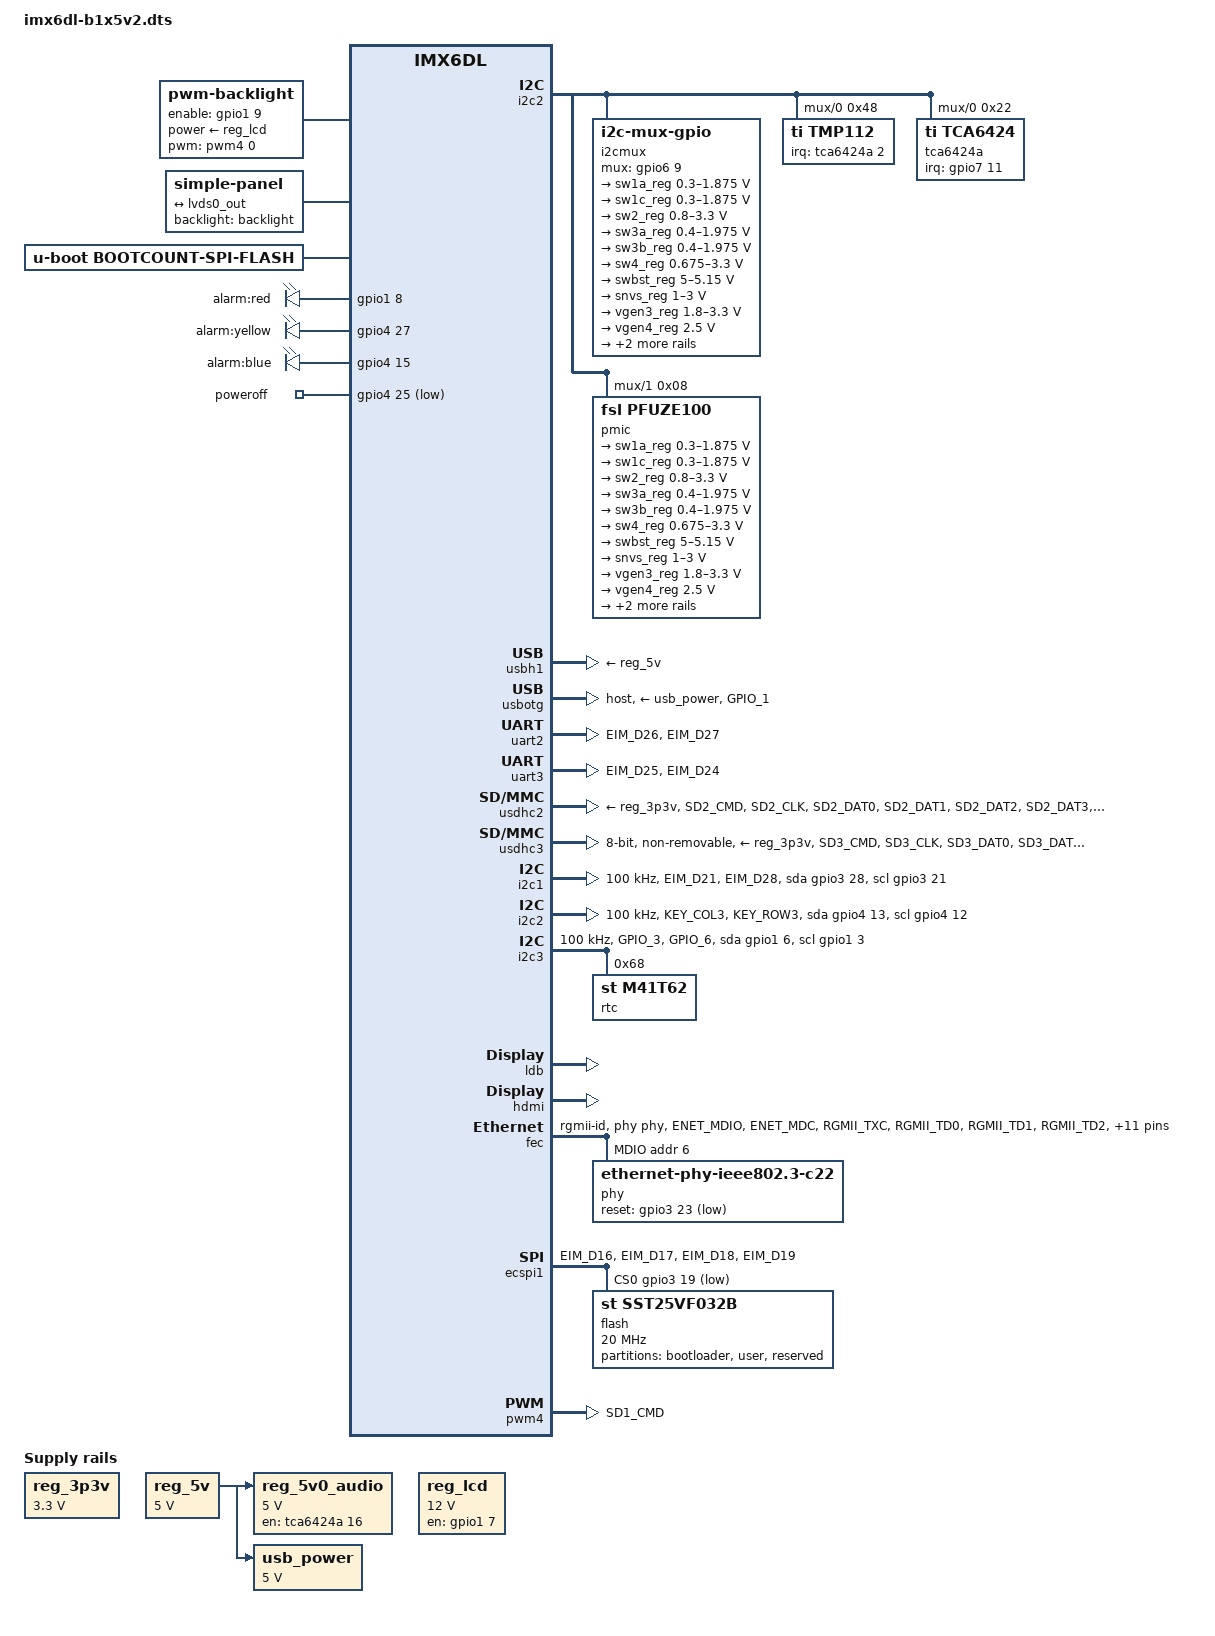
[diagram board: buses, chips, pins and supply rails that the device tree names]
/*
 * GE B1x5v2 Patient Monitor
 *
 * Copyright 2018-2020 GE Inc.
 * Copyright 2018-2020 Collabora Ltd.
 *
 * SPDX-License-Identifier:    GPL-2.0+
 */

/dts-v1/;

#include "imx6dl.dtsi"
#include <dt-bindings/gpio/gpio.h>

/ {
	compatible = "ge,imx6dl-b1x5v2", "congatec,qmx6", "fsl,imx6dl";

	chosen {
		bootargs = "console=ttymxc2,115200";
		stdout-path = &uart3;
	};

	reg_3p3v: 3p3v {
		compatible = "regulator-fixed";
		regulator-name = "3P3V";
		regulator-min-microvolt = <3300000>;
		regulator-max-microvolt = <3300000>;
		regulator-always-on;
	};

	reg_5v: regulator-5v {
		compatible = "regulator-fixed";
		regulator-name = "5V";
		regulator-min-microvolt = <5000000>;
		regulator-max-microvolt = <5000000>;
		regulator-always-on;
	};

	reg_5v0_audio: regulator-5v0-audio {
		compatible = "regulator-fixed";
		regulator-name = "5V0_AUDIO";
		regulator-min-microvolt = <5000000>;
		regulator-max-microvolt = <5000000>;
		vin-supply = <&reg_5v>;

		gpio = <&tca6424a 16 GPIO_ACTIVE_HIGH>;
		enable-active-high;

		/*
		 * This must be always-on for da7212, which has some not properly
		 * documented dependencies for it's speaker supply pin. The issue
		 * manifests as speaker volume being very low.
		 */
		regulator-always-on;
		regulator-boot-on;
	};

	reg_lcd: regulator-lcd {
		compatible = "regulator-fixed";
		regulator-name = "LED_VCC";
		regulator-min-microvolt = <12000000>;
		regulator-max-microvolt = <12000000>;

		pinctrl-0 = <&pinctrl_q7_lcd_power>;
		pinctrl-names = "default";
		gpio = <&gpio1 7 GPIO_ACTIVE_HIGH>; // LCDPWR
		enable-active-high;
	};

	usb_power: regulator-usb-power {
		compatible = "regulator-fixed";
		regulator-name = "USB POWER";
		regulator-min-microvolt = <5000000>;
		regulator-max-microvolt = <5000000>;
		vin-supply = <&reg_5v>;
	};

	backlight: backlight {
		compatible = "pwm-backlight";
		pinctrl-names = "default";
		pinctrl-0 = <&pinctrl_q7_backlight_enable>;
		power-supply = <&reg_lcd>;
		pwms = <&pwm4 0 5000000>;
		brightness-levels = <0 4 8 16 32 64 128 255>;
		default-brightness-level = <7>;
		enable-gpios = <&gpio1 9 GPIO_ACTIVE_HIGH>;
	};

	panel {
		compatible = "simple-panel";
		backlight = <&backlight>;

		port {
			panel_in: endpoint {
				remote-endpoint = <&lvds0_out>;
			};
		};
	};

	bootcount {
		compatible = "u-boot,bootcount-spi-flash";
		spi-flash = <&flash>;
		offset = <0x01003fe>;
	};

	leds {
		compatible = "gpio-leds";
		pinctrl-names = "default";
		pinctrl-0 = <&pinctrl_q7_gpio1 &pinctrl_q7_gpio3 &pinctrl_q7_gpio5>;

		alarm1 {
			label = "alarm:red";
			gpios = <&gpio1 8 GPIO_ACTIVE_HIGH>;
		};

		alarm2 {
			label = "alarm:yellow";
			gpios = <&gpio4 27 GPIO_ACTIVE_HIGH>;
		};

		alarm3 {
			label = "alarm:blue";
			gpios = <&gpio4 15 GPIO_ACTIVE_HIGH>;
		};
	};

	poweroff {
		compatible = "gpio-poweroff";
		pinctrl-names = "default";
		pinctrl-0 = <&pinctrl_q7_spi_cs1>;
		gpios = <&gpio4 25 GPIO_ACTIVE_LOW>;
		active-delay-ms = <1000>;
		inactive-delay-ms = <0>;
		timeout-ms = <5000>;
	};

	i2cmux {
		compatible = "i2c-mux-gpio";
		#address-cells = <1>;
		#size-cells = <0>;
		pinctrl-names = "default";
		pinctrl-0 = <&pinctrl_i2cmux>;
		mux-gpios = <&gpio6 9 GPIO_ACTIVE_HIGH>;
		i2c-parent = <&i2c2>;
		idle-state = <1>;

		i2c5: i2c@0 {
			reg = <0>;
			#address-cells = <1>;
			#size-cells = <0>;

			tmp112: temperature-sensor@48 {
				compatible = "ti,tmp112";
				reg = <0x48>;
				interrupt-parent = <&tca6424a>;
				interrupts = <2 IRQ_TYPE_LEVEL_LOW>;
			};

			tca6424a: gpio-controller@22 {
				compatible = "ti,tca6424";
				reg = <0x22>;
				gpio-controller;
				#gpio-cells = <2>;

				interrupt-parent = <&gpio7>;
				interrupts = <11 IRQ_TYPE_EDGE_RISING>;
				pinctrl-names = "default";
				pinctrl-0 = <&pinctrl_q7_gpio6>;
				interrupt-controller;
				#interrupt-cells = <2>;

				gpio-line-names = "GPIO_ROTOR#", "", "TMP_SENSOR_IRQ", "ACM_GPIO1", "ACM_GPIO2", "BATT_T", "", "",
						  "ACM_GPIO3", "ACM_GPIO4", "USB1_POWER_EN", "EGPIO_CC_CTL0", "EGPIO_CC_CTL1", "12V_OEMNBP_EN", "CP2105_RST", "",
						  "SPEAKER_PA_EN", "ARM7_UPI_RESET", "ARM7_PWR_RST", "NURSE_CALL", "MARKER_EN", "EGPIO_TOUCH_RST", "", "";
			};
		};

		i2c6: i2c@1 {
			reg = <1>;
			#address-cells = <1>;
			#size-cells = <0>;

			pmic: pmic@08 {
				compatible = "fsl,pfuze100";
				reg = <0x08>;
			};
		};
	};
};

&usbh1 {
	/* Connected to USB-Hub SMSC USB2514, provides P0, P2, P3, P4 on Qseven connector */
	vbus-supply = <&reg_5v>;
	status = "okay";
};

&usbotg {
	pinctrl-names = "default";
	pinctrl-0 = <&pinctrl_usbotg>;
	vbus-supply = <&usb_power>;
	disable-over-current;
	dr_mode = "host";
	status = "okay";
};

&pmic {
	regulators {
		sw1a_reg: sw1ab {
			regulator-min-microvolt = <300000>;
			regulator-max-microvolt = <1875000>;
			regulator-boot-on;
			regulator-always-on;
			regulator-ramp-delay = <6250>;
		};

		sw1c_reg: sw1c {
			regulator-min-microvolt = <300000>;
			regulator-max-microvolt = <1875000>;
			regulator-boot-on;
			regulator-always-on;
			regulator-ramp-delay = <6250>;
		};

		sw2_reg: sw2 {
			regulator-min-microvolt = <800000>;
			regulator-max-microvolt = <3300000>;
			regulator-boot-on;
			regulator-always-on;
		};

		sw3a_reg: sw3a {
			regulator-min-microvolt = <400000>;
			regulator-max-microvolt = <1975000>;
			regulator-boot-on;
			regulator-always-on;
		};

		sw3b_reg: sw3b {
			regulator-min-microvolt = <400000>;
			regulator-max-microvolt = <1975000>;
			regulator-boot-on;
			regulator-always-on;
		};

		sw4_reg: sw4 {
			regulator-min-microvolt = <675000>;
			regulator-max-microvolt = <3300000>;
			regulator-boot-on;
			regulator-always-on;
		};

		swbst_reg: swbst {
			regulator-min-microvolt = <5000000>;
			regulator-max-microvolt = <5150000>;
		};

		snvs_reg: vsnvs {
			regulator-min-microvolt = <1000000>;
			regulator-max-microvolt = <3000000>;
			regulator-boot-on;
			regulator-always-on;
		};

		vref_reg: vrefddr {
			regulator-boot-on;
			regulator-always-on;
		};

		/* keep VGEN3, VGEN4 and VGEN5 enabled in order to maintain backward compatibility with hw-rev. A.0 */
		vgen3_reg: vgen3 {
			regulator-min-microvolt = <1800000>;
			regulator-max-microvolt = <3300000>;
			regulator-always-on;
		};

		vgen4_reg: vgen4 {
			regulator-min-microvolt = <2500000>;
			regulator-max-microvolt = <2500000>;
			regulator-always-on;
		};

		vgen5_reg: vgen5 {
			regulator-min-microvolt = <1800000>;
			regulator-max-microvolt = <3300000>;
			regulator-always-on;
		};

		/* supply voltage for eMMC */
		vgen6_reg: vgen6 {
			regulator-min-microvolt = <1800000>;
			regulator-max-microvolt = <1800000>;
			regulator-boot-on;
			regulator-always-on;
		};
	};
};

&uart2 {
	pinctrl-names = "default";
	pinctrl-0 = <&pinctrl_uart2>;
	status = "okay";
};

&uart3 {
	pinctrl-names = "default";
	pinctrl-0 = <&pinctrl_uart3>;
	status = "okay";
};

&usdhc2 {
	/* MicroSD card slot */
	pinctrl-names = "default";
	pinctrl-0 = <&pinctrl_usdhc2>;
	cd-gpios = <&gpio1 4 GPIO_ACTIVE_LOW>;
	no-1-8-v;
	keep-power-in-suspend;
	wakeup-source;
	vmmc-supply = <&reg_3p3v>;
	status = "okay";
};

&usdhc3 {
	/* eMMC module */
	pinctrl-names = "default";
	pinctrl-0 = <&pinctrl_usdhc3>;
	non-removable;
	bus-width = <8>;
	no-1-8-v;
	keep-power-in-suspend;
	wakeup-source;
	vmmc-supply = <&reg_3p3v>;
	status = "okay";
};

&i2c1 {
	status = "okay";
	pinctrl-names = "default", "gpio";
	pinctrl-0 = <&pinctrl_i2c1>;
	pinctrl-1 = <&pinctrl_i2c1_gpio>;
	scl-gpios = <&gpio3 21 GPIO_ACTIVE_HIGH>;
	sda-gpios = <&gpio3 28 GPIO_ACTIVE_HIGH>;

	clock-frequency = <100000>;
};

&i2c2 {
	status = "okay";
	pinctrl-names = "default", "gpio";
	pinctrl-0 = <&pinctrl_i2c2>;
	pinctrl-1 = <&pinctrl_i2c2_gpio>;
	scl-gpios = <&gpio4 12 GPIO_ACTIVE_HIGH>;
	sda-gpios = <&gpio4 13 GPIO_ACTIVE_HIGH>;

	clock-frequency = <100000>;
};

&i2c3 {
	status = "okay";
	pinctrl-names = "default", "gpio";
	pinctrl-0 = <&pinctrl_i2c3>;
	pinctrl-1 = <&pinctrl_i2c3_gpio>;
	scl-gpios = <&gpio1 3 GPIO_ACTIVE_HIGH>;
	sda-gpios = <&gpio1 6 GPIO_ACTIVE_HIGH>;

	clock-frequency = <100000>;

	rtc: m41t62@68 {
		compatible = "st,m41t62";
		reg = <0x68>;
	};
};

&ldb {
	status = "okay";

	lvds0: lvds-channel@0 {
		status = "okay";
		fsl,data-mapping = "spwg";
		fsl,data-width = <24>;

		port@4 {
			reg = <4>;
			lvds0_out: endpoint {
				remote-endpoint = <&panel_in>;
			};
		};
	};
};

&hdmi {
	status = "okay";
};

&fec {
	pinctrl-names = "default";
	pinctrl-0 = <&pinctrl_enet &pinctrl_phy_reset>;
	phy-mode = "rgmii-id";
	phy-handle = <&phy>;
	status = "okay";

	fsl,magic-packet;

	mdio {
		#address-cells = <1>;
		#size-cells = <0>;

		phy: ethernet-phy@6 {
			compatible = "ethernet-phy-ieee802.3-c22";
			reg = <6>;
			qca,clk-out-frequency = <125000000>;
			reset-gpios = <&gpio3 23 GPIO_ACTIVE_LOW>;
			reset-assert-us = <2000>;
		};
	};
};

&ecspi1 {
	pinctrl-names = "default";
	pinctrl-0 = <&pinctrl_ecspi1>;
	status = "okay";

	num-cs = <1>;
	cs-gpios = <&gpio3 19 GPIO_ACTIVE_LOW>;

	flash: m25p80@0 {
		#address-cells = <1>;
		#size-cells = <1>;
		compatible = "st,sst25vf032b", "jedec,spi-nor";
		spi-max-frequency = <20000000>;
		reg = <0>;

		partition@0 {
			label = "bootloader";
			reg = <0x0000000 0x100000>;
		};

		partition@100000 {
			label = "user";
			reg = <0x0100000 0x2fc000>;
		};

		partition@3fc000 {
			label = "reserved";
			reg = <0x03fc000 0x4000>;
			read-only;
		};
	};
};

&pwm4 {
	pinctrl-names = "default";
	pinctrl-0 = <&pinctrl_pwm4>;
	status = "okay";
};

&wdog1 {
	pinctrl-names = "default";
	pinctrl-0 = <&pinctrl_wdog>;
	fsl,ext-reset-output;
};

&iomuxc {
	imx6qdl-congatec-qmx6 {
		pinctrl_uart2: uart2grp {
			fsl,pins = <
				MX6QDL_PAD_EIM_D26__UART2_TX_DATA	0x1b0b1
				MX6QDL_PAD_EIM_D27__UART2_RX_DATA	0x1b0b1
			>;
		};

		pinctrl_uart3: uart3grp {
			fsl,pins = <
				MX6QDL_PAD_EIM_D25__UART3_RX_DATA	0x1b0b1
				MX6QDL_PAD_EIM_D24__UART3_TX_DATA	0x1b0b1
			>;
		};

		pinctrl_wdog: wdoggrp {
			fsl,pins = <
				MX6QDL_PAD_DISP0_DAT8__WDOG1_B		0x1b0b0
			>;
		};

		pinctrl_usdhc2: usdhc2grp {
			fsl,pins = <
				MX6QDL_PAD_SD2_CMD__SD2_CMD		0x17059
				MX6QDL_PAD_SD2_CLK__SD2_CLK		0x10059
				MX6QDL_PAD_SD2_DAT0__SD2_DATA0		0x17059
				MX6QDL_PAD_SD2_DAT1__SD2_DATA1		0x17059
				MX6QDL_PAD_SD2_DAT2__SD2_DATA2		0x17059
				MX6QDL_PAD_SD2_DAT3__SD2_DATA3		0x17059
			>;
		};

		pinctrl_usdhc2_cd: sd2cdgrp {
			fsl,pins = <
				MX6QDL_PAD_GPIO_4__GPIO1_IO04		0x1b0b0
			>;
		};

		pinctrl_usdhc3: usdhc4grp {
			fsl,pins = <
				MX6QDL_PAD_SD3_CMD__SD3_CMD		0x17059
				MX6QDL_PAD_SD3_CLK__SD3_CLK		0x10059
				MX6QDL_PAD_SD3_DAT0__SD3_DATA0		0x17059
				MX6QDL_PAD_SD3_DAT1__SD3_DATA1		0x17059
				MX6QDL_PAD_SD3_DAT2__SD3_DATA2		0x17059
				MX6QDL_PAD_SD3_DAT3__SD3_DATA3		0x17059
				MX6QDL_PAD_SD3_DAT4__SD3_DATA4		0x17059
				MX6QDL_PAD_SD3_DAT5__SD3_DATA5		0x17059
				MX6QDL_PAD_SD3_DAT6__SD3_DATA6		0x17059
				MX6QDL_PAD_SD3_DAT7__SD3_DATA7		0x17059
			>;
		};

		pinctrl_i2c1: i2c1grp {
			fsl,pins = <
				MX6QDL_PAD_EIM_D21__I2C1_SCL		0x4001b8b1
				MX6QDL_PAD_EIM_D28__I2C1_SDA		0x4001b8b1
			>;
		};

		pinctrl_i2c1_gpio: i2c1gpiogrp {
			fsl,pins = <
				MX6QDL_PAD_EIM_D21__GPIO3_IO21		0x1b0b0
				MX6QDL_PAD_EIM_D28__GPIO3_IO28		0x1b0b0
			>;
		};

		pinctrl_i2c2: i2c2grp {
			fsl,pins = <
				MX6QDL_PAD_KEY_COL3__I2C2_SCL		0x4001b8b1
				MX6QDL_PAD_KEY_ROW3__I2C2_SDA		0x4001b8b1
			>;
		};

		pinctrl_i2c2_gpio: i2c2gpiogrp {
			fsl,pins = <
				MX6QDL_PAD_KEY_COL3__GPIO4_IO12		0x1b0b0
				MX6QDL_PAD_KEY_ROW3__GPIO4_IO13		0x1b0b0
			>;
		};

		pinctrl_i2c3: i2c3grp {
			fsl,pins = <
				MX6QDL_PAD_GPIO_3__I2C3_SCL		0x4001b8b1
				MX6QDL_PAD_GPIO_6__I2C3_SDA		0x4001b8b1
			>;
		};

		pinctrl_i2c3_gpio: i2c3gpiogrp {
			fsl,pins = <
				MX6QDL_PAD_GPIO_3__GPIO1_IO03		0x1b0b0
				MX6QDL_PAD_GPIO_6__GPIO1_IO06		0x1b0b0
			>;
		};

		pinctrl_ecspi1: ecspi1grp {
			fsl,pins = <
				MX6QDL_PAD_EIM_D16__ECSPI1_SCLK		0x100b1
				MX6QDL_PAD_EIM_D17__ECSPI1_MISO		0x100b1
				MX6QDL_PAD_EIM_D18__ECSPI1_MOSI		0x100b1
				MX6QDL_PAD_EIM_D19__GPIO3_IO19          0x1b0b0
			>;
		};

		pinctrl_enet: enetgrp {
			fsl,pins = <
				MX6QDL_PAD_ENET_MDIO__ENET_MDIO		0x1b0b0
				MX6QDL_PAD_ENET_MDC__ENET_MDC		0x1b0b0
				MX6QDL_PAD_RGMII_TXC__RGMII_TXC		0x1b030
				MX6QDL_PAD_RGMII_TD0__RGMII_TD0		0x1b030
				MX6QDL_PAD_RGMII_TD1__RGMII_TD1		0x1b030
				MX6QDL_PAD_RGMII_TD2__RGMII_TD2		0x1b030
				MX6QDL_PAD_RGMII_TD3__RGMII_TD3		0x1b030
				MX6QDL_PAD_RGMII_TX_CTL__RGMII_TX_CTL	0x1b030
				MX6QDL_PAD_ENET_REF_CLK__ENET_TX_CLK	0x1b0b0
				MX6QDL_PAD_RGMII_RXC__RGMII_RXC		0x1b030
				MX6QDL_PAD_RGMII_RD0__RGMII_RD0		0x1b030
				MX6QDL_PAD_RGMII_RD1__RGMII_RD1		0x1b030
				MX6QDL_PAD_RGMII_RD2__RGMII_RD2		0x1b030
				MX6QDL_PAD_RGMII_RD3__RGMII_RD3		0x1b030
				MX6QDL_PAD_RGMII_RX_CTL__RGMII_RX_CTL	0x1b030
				MX6QDL_PAD_ENET_TX_EN__ENET_TX_EN	0x1b0b0
			>;
		};

		pinctrl_phy_reset: phyrstgrp {
			fsl,pins = <
				MX6QDL_PAD_EIM_D23__GPIO3_IO23		0x4001b0b0	/* RGMII Phy Reset */
			>;
		};

		pinctrl_pwm4: pwm4grp {
			fsl,pins = <
				MX6QDL_PAD_SD1_CMD__PWM4_OUT		0x1b0b1		/* Q7[123] LVDS_BLT_CTRL */
			>;
		};

		pinctrl_q7_lcd_power: lcdpwrgrp {
			fsl,pins = <
				MX6QDL_PAD_GPIO_7__GPIO1_IO07		0x4001b0b0	/* Q7[111] LVDS_PPEN */
			>;
		};

		pinctrl_q7_backlight_enable: blengrp {
			fsl,pins = <
				MX6QDL_PAD_GPIO_9__GPIO1_IO09		0x4001b0b0	/* Q7[112] LVDS_BLEN */
			>;
		};

		pinctrl_q7_gpio1: q7gpio1grp {
			fsl,pins = <
				MX6QDL_PAD_GPIO_8__GPIO1_IO08		0x4001b0b0	/* Q7[186] GPIO1 */
			>;
		};

		pinctrl_q7_gpio3: q7gpio3grp {
			fsl,pins = <
				MX6QDL_PAD_DISP0_DAT6__GPIO4_IO27	0x4001b0b0	/* Q7[188] GPIO3 */
			>;
		};

		pinctrl_q7_gpio5: q7gpio5grp {
			fsl,pins = <
				MX6QDL_PAD_KEY_ROW4__GPIO4_IO15		0x4001b0b0	/* Q7[190] GPIO5 */
			>;
		};

		pinctrl_q7_gpio6: q7gpio6grp {
			fsl,pins = <
				MX6QDL_PAD_GPIO_16__GPIO7_IO11		0x1b0b0		/* Q7[191] GPIO6 */
			>;
		};

		pinctrl_q7_spi_cs1: spics1grp {
			fsl,pins = <
				MX6QDL_PAD_DISP0_DAT4__GPIO4_IO25	0x4001b0b0	/* Q7[202] SPI_CS1# */
			>;
		};

		pinctrl_i2cmux: i2cmuxgrp {
			fsl,pins = <
				MX6QDL_PAD_NANDF_WP_B__GPIO6_IO09	0x4001b0b0
			>;
		};

		pinctrl_usbotg: usbotggrp {
			fsl,pins = <
				MX6QDL_PAD_GPIO_1__USB_OTG_ID		0x17059		/* Q7[92] USB_ID */
			>;
		};
	};
};
